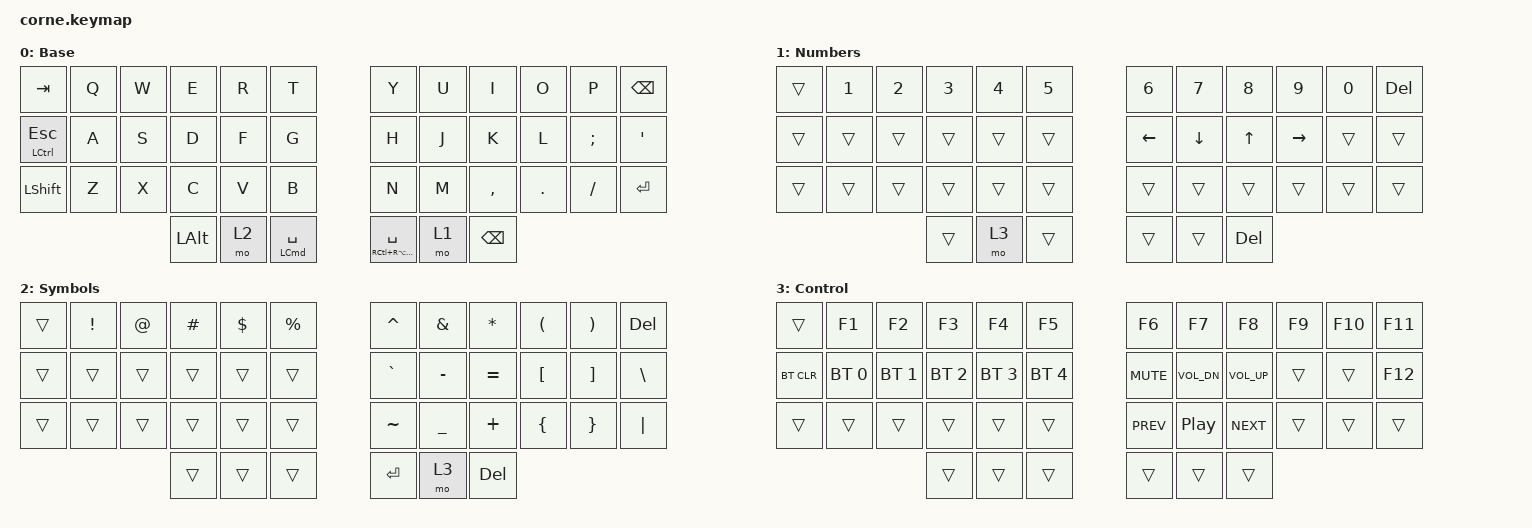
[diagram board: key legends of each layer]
#include <behaviors.dtsi>
#include <dt-bindings/zmk/keys.h>
#include <dt-bindings/zmk/bt.h>

&mt {
  flavor = "balanced";
};

/ {
  behaviors {
    space_mt: space_mt {
      compatible = "zmk,behavior-hold-tap";
      #binding-cells = <2>;
      flavor = "balanced";
      tapping-term-ms = <200>;
      quick-tap-ms = <200>;
      bindings = <&kp>, <&kp>;
    };
  };

  keymap {
    compatible = "zmk,keymap";

    default_layer {
      display-name = "Base";

      // -------------------------------------------------------------------------------------------------------------
      // | TAB      |  Q  |  W  |  E  |  R  |  T  |   |  Y  |  U  |  I  |  O  |  P  | BKSP |
      // | ESC/LCTRL|  A  |  S  |  D  |  F  |  G  |   |  H  |  J  |  K  |  L  |  ;  |  '   |
      // | LSHFT    |  Z  |  X  |  C  |  V  |  B  |   |  N  |  M  |  ,  |  .  |  /  | ENT  |
      //                   | LALT | L2 | SPC/LCMD |   | SPC/RCMD+RALT+RCTRL | L1 | BKSP |

      bindings = <
        &kp TAB       &kp Q &kp W &kp E &kp R &kp T   &kp Y &kp U &kp I     &kp O   &kp P    &kp BACKSPACE
        &mt LCTRL ESC &kp A &kp S &kp D &kp F &kp G   &kp H &kp J &kp K     &kp L   &kp SEMI &kp SINGLE_QUOTE
        &kp LSHFT     &kp Z &kp X &kp C &kp V &kp B   &kp N &kp M &kp COMMA &kp DOT &kp FSLH &kp ENTER
                      &kp LALT &mo 2 &space_mt LCMD SPACE   &space_mt RC(RA(RCMD)) SPACE &mo 1 &kp BACKSPACE
      >;
    };

    numbers_layer {
      display-name = "Numbers";

      // -----------------------------------------------------------------------------------------
      // |     |  1  |  2  |  3  |  4  |  5  |   |  6  |  7  |  8  |  9  |  0  | DEL |
      // |     |     |     |     |     |     |   | LFT | DWN | UP  | RGT |     |     |
      // |     |     |     |     |     |     |   |     |     |     |     |     |     |
      //                   |     | L3  |     |   |     |     | DEL |

      bindings = <
        &trans   &kp N1 &kp N2 &kp N3 &kp N4 &kp N5   &kp N6    &kp N7   &kp N8 &kp N9    &kp N0 &kp DELETE
        &trans   &trans &trans &trans &trans &trans   &kp LEFT  &kp DOWN &kp UP &kp RIGHT &trans &trans
        &trans   &trans &trans &trans &trans &trans   &trans    &trans   &trans &trans    &trans &trans
                               &trans &mo 3  &trans   &trans    &trans   &kp DELETE
      >;
    };

    symbols_layer {
      display-name = "Symbols";

      // -----------------------------------------------------------------------------------------
      // |     |  !  |  @  |  #  |  $  |  %  |   |  ^  |  &  |  *  |  (  |  )  | DEL |
      // |     |     |     |     |     |     |   |  `  |  -  |  =  |  [  |  ]  |  \  |
      // |     |     |     |     |     |     |   |  ~  |  _  |  +  |  {  |  }  | "|" |
      //                   |     |     |     |   | ENT | L3  | DEL |

      bindings = <
        &trans  &kp EXCL &kp AT &kp HASH &kp DLLR &kp PRCNT   &kp CARET &kp AMPS  &kp STAR  &kp LPAR &kp RPAR &kp DELETE
        &trans  &trans   &trans &trans   &trans   &trans      &kp GRAVE &kp MINUS &kp EQUAL &kp LBKT &kp RBKT &kp BSLH
        &trans  &trans   &trans &trans   &trans   &trans      &kp TILDE &kp UNDER &kp PLUS  &kp LBRC &kp RBRC &kp PIPE
                                &trans   &trans   &trans      &kp ENTER &mo 3     &kp DELETE
      >;
    };

    control_layer {
      display-name = "Control";

      // -----------------------------------------------------------------------------------------
      // |       | F1  | F2  | F3  | F4  | F5  |   | F6   | F7   | F8   | F9  | F10 | F11 |
      // | BTCLR | BT1 | BT2 | BT3 | BT4 | BT5 |   | MUTE | VOL- | VOL+ |     |     | F12 |
      // |       |     |     |     |     |     |   | PREV | PLAY | NEXT |     |     |     |
      //                     |     |     |     |   |      |      |      |

      bindings = <
        &trans     &kp F1       &kp F2       &kp F3       &kp F4       &kp F5       &kp F6     &kp F7           &kp F8       &kp F9  &kp F10 &kp F11
        &bt BT_CLR &bt BT_SEL 0 &bt BT_SEL 1 &bt BT_SEL 2 &bt BT_SEL 3 &bt BT_SEL 4 &kp C_MUTE &kp C_VOL_DN     &kp C_VOL_UP &trans  &trans  &kp F12
        &trans     &trans       &trans       &trans       &trans       &trans       &kp C_PREV &kp C_PLAY_PAUSE &kp C_NEXT   &trans  &trans  &trans
                                             &trans       &trans       &trans       &trans     &trans           &trans
      >;
    };
  };
};
